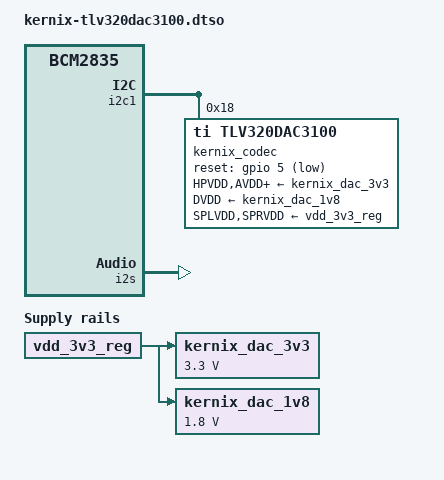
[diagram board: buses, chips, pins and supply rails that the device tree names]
// SPDX-License-Identifier: GPL-2.0
/dts-v1/;
/plugin/;

/ {
    compatible = "brcm,bcm2835";

    fragment@0 {
        target-path = "/";
        __overlay__ {
            /*
             * These nodes describe the breakout's physical onboard
             * regulators. VIN is powered from the Pi's 3.3 V rail.
             */
            kernix_dac_3v3: regulator-kernix-dac-3v3 {
                compatible = "regulator-fixed";
                regulator-name = "kernix-dac-3v3";
                regulator-min-microvolt = <3300000>;
                regulator-max-microvolt = <3300000>;
                regulator-always-on;
                regulator-boot-on;
                vin-supply = <&vdd_3v3_reg>;
            };

            kernix_dac_1v8: regulator-kernix-dac-1v8 {
                compatible = "regulator-fixed";
                regulator-name = "kernix-dac-1v8";
                regulator-min-microvolt = <1800000>;
                regulator-max-microvolt = <1800000>;
                regulator-always-on;
                regulator-boot-on;
                vin-supply = <&vdd_3v3_reg>;
            };
        };
    };

    fragment@1 {
        target = <&i2c1>;
        __overlay__ {
            status = "okay";
            #address-cells = <1>;
            #size-cells = <0>;

            kernix_codec: codec@18 {
                compatible = "ti,tlv320dac3100";
                reg = <0x18>;
                #sound-dai-cells = <0>;
                /* No MCLK wire: derive the DAC PLL reference from BCLK. */
                ti,pll-bclk;

                HPVDD-supply = <&kernix_dac_3v3>;
                AVDD-supply = <&kernix_dac_3v3>;
                IOVDD-supply = <&kernix_dac_3v3>;
                DVDD-supply = <&kernix_dac_1v8>;

                /* The speaker supply pins connect to breakout VIN. */
                SPLVDD-supply = <&vdd_3v3_reg>;
                SPRVDD-supply = <&vdd_3v3_reg>;

                /* Physical pin 29 = BCM GPIO5; active-low reset. */
                reset-gpios = <&gpio 5 1>;
            };
        };
    };

    fragment@2 {
        target = <&i2s>;
        __overlay__ {
            status = "okay";
        };
    };

    fragment@3 {
        target = <&sound>;
        __overlay__ {
            compatible = "simple-audio-card";
            status = "okay";

            simple-audio-card,name = "KernixDAC";
            simple-audio-card,format = "i2s";
            /* Keep the PLL reference present while the codec is active. */
            simple-audio-card,continuous-clock;

            /* The Raspberry Pi generates BCLK and frame clock. */
            simple-audio-card,bitclock-master = <&kernix_cpu_dai>;
            simple-audio-card,frame-master = <&kernix_cpu_dai>;

            kernix_cpu_dai: simple-audio-card,cpu {
                sound-dai = <&i2s>;
            };

            simple-audio-card,codec {
                sound-dai = <&kernix_codec>;
            };
        };
    };
};
